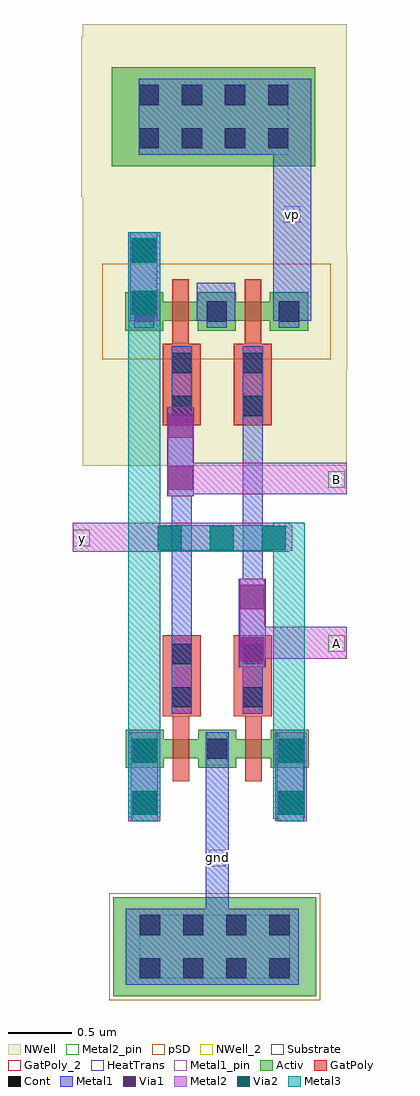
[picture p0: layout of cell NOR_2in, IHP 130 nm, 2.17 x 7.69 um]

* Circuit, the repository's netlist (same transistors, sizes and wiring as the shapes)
** sch_path: /foss/designs/CHIP-PLL/schematics/divider/schematics/NOR_2in.sch
.subckt NOR_2in VP GND a y b
*.PININFO y:O GND:B a:I VP:B b:I
MM3 y a GND GND sg13_lv_nmos w=0.15u l=0.13u ng=1
MM2 y b net1 VP sg13_lv_pmos w=0.15u l=0.13u ng=1
MM4 net1 a VP VP sg13_lv_pmos w=0.15u l=0.13u ng=1
MM5 y b GND GND sg13_lv_nmos w=0.15u l=0.13u ng=1
.ends

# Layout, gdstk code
from math import pi, radians
import gdstk
lib = gdstk.Library(unit=1e-6, precision=1e-09)
def R(c, l, rs):  # rectangles x0, y0, x1, y1
    for r in rs: c.add(gdstk.rectangle(r[:2], r[2:], *l))
def A(c, l, x, y, w, h, nx, ny, dx, dy):  # array of equal rectangles
    R(c, l, [(x+i*dx, y+j*dy, x+i*dx+w, y+j*dy+h) for i in range(nx) for j in range(ny)])
Activ = (1, 0)
GatPoly = (5, 0)
GatPoly_2 = (5, 2)
Cont = (6, 0)
Metal1 = (8, 0)
Metal1_pin = (8, 2)
Metal2 = (10, 0)
Metal2_pin = (10, 2)
pSD = (14, 0)
Via1 = (19, 0)
Via2 = (29, 0)
Metal3 = (30, 0)
NWell = (31, 0)
NWell_2 = (31, 2)
Substrate = (40, 0)
HeatTrans = (51, 0)

via_1 = lib.new_cell('Via$1')
R(via_1, GatPoly, [(-0.15,-0.32,0.15,0.32)])
R(via_1, Cont, [(-0.08,-0.25,0.08,-0.09), (-0.08,0.09,0.08,0.25)])
R(via_1, Metal1, [(-0.08,-0.3,0.08,0.3)])

via_6 = lib.new_cell('Via$6')
R(via_6, Metal1, [(-0.105,-0.35,0.105,0.35)])
R(via_6, Metal2, [(-0.1,-0.35,0.1,0.35)])
R(via_6, Via1, [(-0.095,-0.3,0.095,-0.11), (-0.095,0.11,0.095,0.3)])

ptap1 = lib.new_cell('ptap1')
R(ptap1, Activ, [(0,0,1.6,0.78)])
A(ptap1, Cont, 0.21, 0.14, 0.16, 0.16, 4, 2, 0.34, 0.34)
R(ptap1, Metal1, [(0.21,0.09,1.39,0.69), (0.21,0.14,1.39,0.64)])
R(ptap1, Metal1_pin, [(0.21,0.14,1.39,0.64)])
R(ptap1, pSD, [(-0.03,-0.03,1.63,0.81)])
R(ptap1, Substrate, [(0,0,1.6,0.78)])
ptap1.add(gdstk.Label('sub!', (0.8,0.01), layer=63, texttype=0))
ptap1.add(gdstk.Label('sub!', (0.8,0.01), layer=40, texttype=0))

via = lib.new_cell('Via')
R(via, Metal2, [(-0.1,-0.35,0.1,0.35)])
R(via, Via2, [(-0.095,-0.3,0.095,-0.11), (-0.095,0.11,0.095,0.3)])
R(via, Metal3, [(-0.1,-0.35,0.1,0.35)])

nmos = lib.new_cell('nmos')
A(nmos, Activ, 0, 0, 0.3, 0.3, 3, 1, 0.57, 0)
R(nmos, Activ, [(0,0.075,1.44,0.225)])
R(nmos, GatPoly, [(0.37,-0.105,0.5,0.405), (0.94,-0.105,1.07,0.405)])
R(nmos, GatPoly_2, [(0.37,-0.105,0.5,0.405)])
A(nmos, Cont, 0.07, 0.07, 0.16, 0.16, 3, 1, 0.57, 0)
A(nmos, Metal1, 0.07, 0.02, 0.16, 0.26, 3, 1, 0.57, 0)
R(nmos, Metal1_pin, [(0.07,0.02,0.23,0.28), (0.64,0.02,0.8,0.28)])
R(nmos, HeatTrans, [(0.37,-0.105,0.5,0.405), (0.94,-0.105,1.07,0.405)])
nmos.add(gdstk.Label('nmos', (0.435,0.15), layer=63, texttype=0))
nmos.add(gdstk.Label('nmos', (0.435,0.15), layer=51, texttype=0))
nmos.add(gdstk.Label('nmos', (1.005,0.15), layer=51, texttype=0))

via_7 = lib.new_cell('Via$7')
R(via_7, Metal2, [(-0.555,-0.1,0.555,0.1)])
A(via_7, Via2, -0.505, -0.095, 0.19, 0.19, 3, 1, 0.41, 0)
R(via_7, Metal3, [(-0.555,-0.1,0.555,0.1)])

ntap1 = lib.new_cell('ntap1')
R(ntap1, Activ, [(0,0,1.6,0.78)])
A(ntap1, Cont, 0.21, 0.14, 0.16, 0.16, 4, 2, 0.34, 0.34)
R(ntap1, Metal1, [(0.21,0.09,1.39,0.69)])
R(ntap1, Metal1_pin, [(0.21,0.09,1.39,0.69), (0.21,0.14,1.39,0.64)])
R(ntap1, NWell, [(-0.24,-0.24,1.84,1.02), (0,0,1.6,0.78)])
R(ntap1, NWell_2, [(0,0,1.6,0.78)])
ntap1.add(gdstk.Label('well', (0.8,0.01), layer=31, texttype=0))
ntap1.add(gdstk.Label('well', (0.8,0.01), layer=63, texttype=0))

pmos = lib.new_cell('pmos')
A(pmos, Activ, 0, 0, 0.3, 0.3, 3, 1, 0.57, 0)
R(pmos, Activ, [(0,0.075,1.44,0.225)])
R(pmos, GatPoly, [(0.37,-0.105,0.5,0.405), (0.37,-0.105,0.5,0.405), (0.94,-0.105,1.07,0.405)])
A(pmos, Cont, 0.07, 0.07, 0.16, 0.16, 3, 1, 0.57, 0)
R(pmos, Metal1, [(0.07,0.02,0.23,0.28), (0.07,0.02,0.23,0.28), (0.64,0.02,0.8,0.28), (0.64,0.02,0.8,0.28), (1.21,0.02,1.37,0.28)])
R(pmos, pSD, [(-0.18,-0.225,1.62,0.525)])
R(pmos, NWell, [(-0.31,-0.31,1.75,0.61)])
R(pmos, HeatTrans, [(0.37,-0.105,0.5,0.405), (0.94,-0.105,1.07,0.405)])
pmos.add(gdstk.Label('pmos', (0.435,0.15), layer=63, texttype=0))
pmos.add(gdstk.Label('pmos', (0.435,0.15), layer=51, texttype=0))
pmos.add(gdstk.Label('pmos', (1.005,0.15), layer=51, texttype=0))

nor_2in = lib.new_cell('NOR_2in')
R(nor_2in, Metal1, [(3.82,-4.64,5.18,-4.04), (4.74,-2.235,4.9,-0.14), (4.18,-2.025,4.34,-0.045), (4.38,0.59,4.68,0.89)])
R(nor_2in, Metal1_pin, [(4.475,-3.705,4.605,-3.575), (5.065,1.365,5.195,1.495)])
R(nor_2in, Metal2, [(3.4,-1.23,5.105,-1)])
R(nor_2in, Metal2_pin, [(5.415,-2.015,5.545,-1.885), (3.405,-1.185,3.535,-1.055), (5.415,-0.725,5.545,-0.595)])
R(nor_2in, NWell, [(3.48,-0.55,5.56,2.93)])
nor_2in.add(gdstk.FlexPath([(5.12,-2.65),(5.12,-3.35)], 0.25, ends="flush", simple_path=True, layer=10, datatype=0))  # Metal2
nor_2in.add(gdstk.FlexPath([(3.965,-2.65),(3.965,-3.35)], 0.25, ends="flush", simple_path=True, layer=10, datatype=0))  # Metal2
nor_2in.add(gdstk.FlexPath([(3.965,1.29),(3.965,0.59)], 0.25, ends="flush", simple_path=True, layer=10, datatype=0))  # Metal2
nor_2in.add(gdstk.FlexPath([(4.23,-0.65),(5.56,-0.65)], 0.25, ends="flush", simple_path=True, layer=10, datatype=0))  # Metal2
nor_2in.add(gdstk.FlexPath([(4.745,-1.945),(5.56,-1.945)], 0.25, ends="flush", simple_path=True, layer=10, datatype=0))  # Metal2
nor_2in.add(gdstk.FlexPath([(3.965,-3.32),(3.965,1.29)], 0.25, ends="flush", simple_path=True, layer=30, datatype=0))  # Metal3
nor_2in.add(gdstk.FlexPath([(5.105,-3.33),(5.105,-1)], 0.25, ends="flush", simple_path=True, layer=30, datatype=0))  # Metal3
nor_2in.add(gdstk.FlexPath([(4.54,-2.65),(4.54,-4.04)], 0.18, ends="flush", simple_path=True, layer=8, datatype=0))  # Metal1
nor_2in.add(gdstk.FlexPath([(5.13,0.59),(5.13,2.5)], 0.3, ends="flush", simple_path=True, layer=8, datatype=0))  # Metal1
nor_2in.add(gdstk.Reference(via_1, (4.82,0.09), rotation=pi, x_reflection=True))
nor_2in.add(gdstk.Reference(via_1, (4.82,-2.205), rotation=pi, x_reflection=True))
nor_2in.add(gdstk.Reference(via_1, (4.26,-2.205), rotation=pi, x_reflection=True))
nor_2in.add(gdstk.Reference(via_6, (4.815,-1.79), rotation=pi, x_reflection=True))
nor_2in.add(gdstk.Reference(ptap1, (5.32,-4.73), rotation=pi, x_reflection=True))
nor_2in.add(gdstk.Reference(via, (3.965,0.94), rotation=pi, x_reflection=True))
nor_2in.add(gdstk.Reference(nmos, (5.26,-2.93), rotation=pi, x_reflection=True))
nor_2in.add(gdstk.Reference(via_6, (3.96,0.94), rotation=pi, x_reflection=True))
nor_2in.add(gdstk.Reference(via, (3.97,-3), rotation=pi, x_reflection=True))
nor_2in.add(gdstk.Reference(via, (5.12,-3), rotation=pi, x_reflection=True))
nor_2in.add(gdstk.Reference(via_6, (5.115,-3), rotation=pi, x_reflection=True))
nor_2in.add(gdstk.Reference(via_7, (4.575,-1.12), rotation=pi, x_reflection=True))
nor_2in.add(gdstk.Reference(ntap1, (3.71,1.81)))
nor_2in.add(gdstk.Reference(via_6, (4.25,-0.44), rotation=pi, x_reflection=True))
nor_2in.add(gdstk.Reference(via_1, (4.26,0.09), rotation=pi, x_reflection=True))
nor_2in.add(gdstk.Reference(pmos, (5.255,0.515), rotation=pi, x_reflection=True))
nor_2in.add(gdstk.Reference(via_6, (3.965,-3), rotation=pi, x_reflection=True))
nor_2in.add(gdstk.Label('B', (5.48,-0.66), layer=10, texttype=25))
nor_2in.add(gdstk.Label('y', (3.48,-1.12), layer=10, texttype=25))
nor_2in.add(gdstk.Label('A', (5.48,-1.95), layer=10, texttype=25))
nor_2in.add(gdstk.Label('gnd', (4.54,-3.64), layer=8, texttype=25))
nor_2in.add(gdstk.Label('vp', (5.13,1.43), layer=8, texttype=25))

lib.write_gds('NOR_2in.gds')
